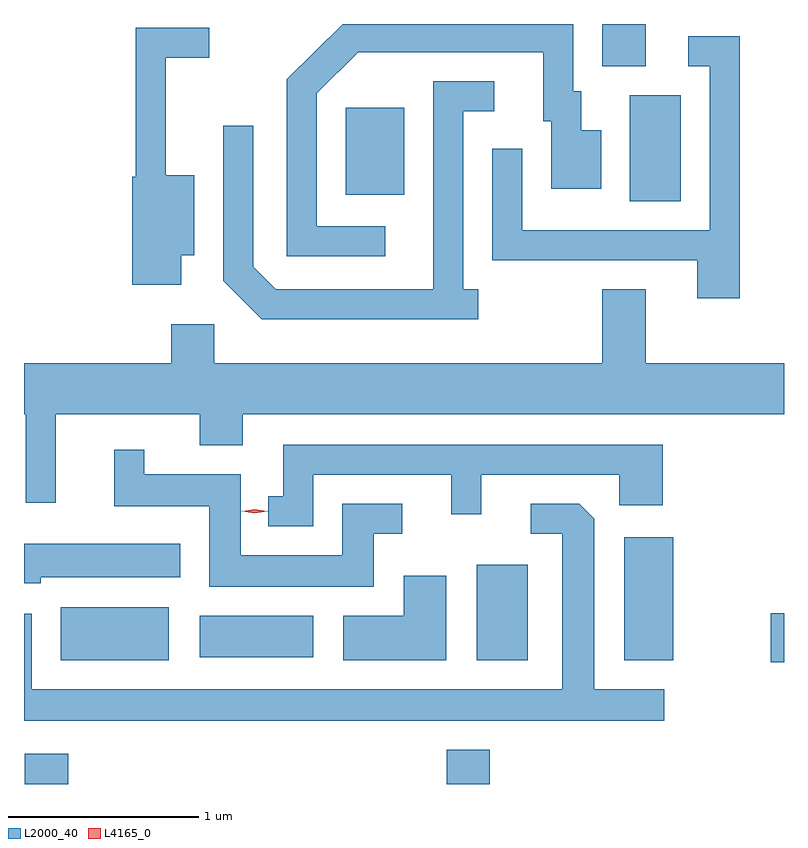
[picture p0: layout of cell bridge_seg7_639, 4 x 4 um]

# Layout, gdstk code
import gdstk
lib = gdstk.Library(unit=1e-6, precision=1e-09)
def R(c, l, rs):  # rectangles x0, y0, x1, y1
    for r in rs: c.add(gdstk.rectangle(r[:2], r[2:], *l))
def P(c, l, *ps):  # polygons
    for p in ps: c.add(gdstk.Polygon(p, *l))
L2000_40 = (2000, 40)
L4165_0 = (4165, 0)

bridge_seg7_639 = lib.new_cell('bridge_seg7_639')
R(bridge_seg7_639, L2000_40, [(857.021,1694.609,857.249,1694.769), (859.241,1694.609,859.469,1694.789), (860.946,1695.251,861.017,1695.509), (857.211,1695.261,857.779,1695.539), (859.401,1695.261,859.669,1695.764), (860.176,1695.261,860.434,1695.909), (857.941,1695.276,858.539,1695.494), (860.206,1697.676,860.474,1698.234), (858.711,1697.711,859.019,1698.169), (860.061,1698.386,860.289,1698.609)])
P(bridge_seg7_639, L2000_40, [(858.918,1697.544),(858.559,1697.544),(858.559,1698.244),(858.777,1698.461),(859.751,1698.461),(859.751,1698.096),(859.791,1698.096),(859.791,1697.741),(860.054,1697.741),(860.054,1698.049),(859.949,1698.049),(859.949,1698.254),(859.909,1698.254),(859.909,1698.609),(858.694,1698.609),(858.401,1698.317),(858.401,1697.386),(858.918,1697.386)],
  [(857.844,1697.391),(857.914,1697.391),(857.914,1697.814),(857.764,1697.814),(857.764,1698.431),(857.993,1698.431),(857.993,1698.589),(857.606,1698.589),(857.606,1697.804),(857.586,1697.804),(857.586,1697.236),(857.844,1697.236)],
  [(860.784,1698.544),(860.513,1698.544),(860.513,1698.386),(860.626,1698.386),(860.626,1697.524),(859.639,1697.524),(859.639,1697.953),(859.481,1697.953),(859.481,1697.366),(860.561,1697.366),(860.561,1697.166),(860.784,1697.166)],
  [(859.408,1697.214),(859.329,1697.214),(859.329,1698.151),(859.493,1698.151),(859.493,1698.309),(859.171,1698.309),(859.171,1697.214),(858.342,1697.214),(858.224,1697.332),(858.224,1698.073),(858.066,1698.073),(858.066,1697.259),(858.269,1697.056),(859.408,1697.056)],
  [(860.061,1697.214),(860.061,1696.824),(858.019,1696.824),(858.019,1697.029),(857.791,1697.029),(857.791,1696.824),(857.017,1696.824),(857.017,1696.556),(857.026,1696.556),(857.026,1696.088),(857.184,1696.088),(857.184,1696.556),(857.941,1696.556),(857.941,1696.391),(858.169,1696.391),(858.169,1696.556),(861.017,1696.556),(861.017,1696.824),(860.289,1696.824),(860.289,1697.214)],
  [(858.539,1696.236),(859.266,1696.236),(859.266,1696.028),(859.424,1696.028),(859.424,1696.236),(860.151,1696.236),(860.151,1696.076),(860.379,1696.076),(860.379,1696.394),(858.381,1696.394),(858.381,1696.124),(858.303,1696.124),(858.303,1695.966),(858.539,1695.966)],
  [(858.859,1695.926),(859.008,1695.926),(859.008,1696.084),(858.691,1696.084),(858.691,1695.814),(858.159,1695.814),(858.159,1696.239),(857.649,1696.239),(857.649,1696.368),(857.491,1696.368),(857.491,1696.071),(857.991,1696.071),(857.991,1695.646),(858.859,1695.646)],
  [(860.388,1695.109),(860.019,1695.109),(860.019,1696.004),(859.939,1696.084),(859.683,1696.084),(859.683,1695.926),(859.851,1695.926),(859.851,1695.109),(857.059,1695.109),(857.059,1695.504),(857.017,1695.504),(857.017,1694.941),(860.388,1694.941)],
  [(857.104,1695.696),(857.839,1695.696),(857.839,1695.874),(857.017,1695.874),(857.017,1695.666),(857.104,1695.666)],
  [(859.239,1695.704),(859.016,1695.704),(859.016,1695.494),(858.696,1695.494),(858.696,1695.261),(859.239,1695.261)])
P(bridge_seg7_639, L4165_0, [(858.231,1696.035),(858.162,1696.044),(858.162,1696.044),(858.162,1696.045),(858.231,1696.054),(858.301,1696.045),(858.301,1696.045),(858.301,1696.044)])

lib.write_gds('bridge_seg7_639.gds')
